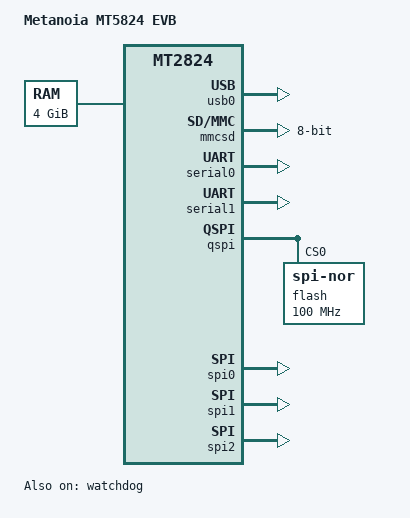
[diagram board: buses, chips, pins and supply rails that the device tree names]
// SPDX-License-Identifier: (GPL-2.0+ OR MIT)
/*
 * Copyright (C) 2026 Metanoia Communications Inc.. All rights reserved.
 */

/dts-v1/;

#include "mt2824.dtsi"

/ {
	model = "Metanoia MT5824 EVB";
	compatible = "metanoia,mt5824-evb", "metanoia,mt2824";

	aliases {
		uart0 = &serial0;
		uart1 = &serial1;
		spi0 = &spi0;
		spi1 = &spi1;
		spi2 = &spi2;
	};

	chosen {
		stdout-path = "uart0:115200n8";
	};

	memory@80000000 {
		device_type = "memory";
		reg = <0x0 0x80000000 0x0 0x80000000>,
		      <0x1 0x00000000 0x0 0x80000000>;
	};
};

&usb0 {
	status = "okay";
};

&mmcsd {
	bus-width = <8>;
	mmc-ddr-1_8v;
	mmc-hs200-1_8v;
	mmc-hs400-1_8v;
	no-sdio;
	disable-wp;
	cap-mmc-hw-reset;
	status = "okay";
};

&watchdog {
	status = "okay";
};

&serial0 {
	status = "okay";
};

&serial1 {
	status = "okay";
};

&qspi {
	status = "okay";
	flash@0 {
		compatible = "jedec,spi-nor";
		spi-rx-bus-width = <0x4>;
		spi-tx-bus-width = <0x4>;
		spi-max-frequency = <100000000>;
		reg = <0x0>;
	};
};

&spi0 {
	status = "okay";
};

&spi1 {
	status = "okay";
};

&spi2 {
	status = "okay";
};
